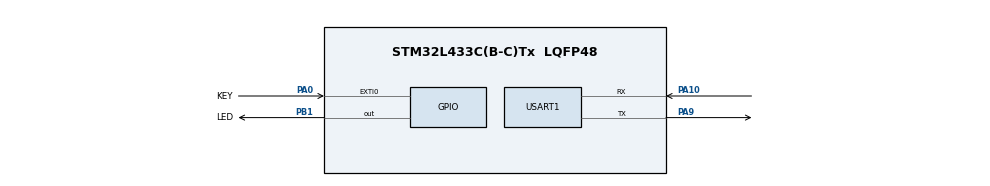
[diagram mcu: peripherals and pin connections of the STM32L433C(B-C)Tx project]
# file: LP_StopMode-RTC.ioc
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Mcu.Family=STM32L4
Mcu.Name=STM32L433C(B-C)Tx
Mcu.Package=LQFP48
NVIC.EXTI0_IRQn=true\:2\:0\:true\:false\:true\:true
NVIC.PriorityGroup=NVIC_PRIORITYGROUP_4
NVIC.RTC_WKUP_IRQn=true\:0\:0\:false\:false\:true\:true
NVIC.USART1_IRQn=true\:1\:0\:true\:false\:true\:true
PA0.GPIO_Label=KEY
PA0.GPIO_ModeDefaultEXTI=GPIO_MODE_IT_RISING_FALLING
PA0.GPIO_PuPd=GPIO_PULLDOWN
PA0.Signal=GPXTI0
PA10.Mode=Asynchronous
PA10.Signal=USART1_RX
PA13\ (JTMS-SWDIO).Mode=Serial_Wire
PA13\ (JTMS-SWDIO).Signal=SYS_JTMS-SWDIO
PA14\ (JTCK-SWCLK).Mode=Serial_Wire
PA14\ (JTCK-SWCLK).Signal=SYS_JTCK-SWCLK
PA9.Mode=Asynchronous
PA9.Signal=USART1_TX
PB1.GPIO_Label=LED
PB1.GPIO_PuPd=GPIO_PULLUP
PB1.Signal=GPIO_Output
PC14-OSC32_IN\ (PC14).Mode=LSE-External-Oscillator
PC14-OSC32_IN\ (PC14).Signal=RCC_OSC32_IN
PC15-OSC32_OUT\ (PC15).Mode=LSE-External-Oscillator
PC15-OSC32_OUT\ (PC15).Signal=RCC_OSC32_OUT
ProjectManager.HeapSize=0x200
ProjectManager.StackSize=0x400
ProjectManager.TargetToolchain=MDK-ARM V5
RCC.HSE_VALUE=8000000
RCC.HSI48_VALUE=48000000
RCC.HSI_VALUE=16000000
RCC.MSIAutoCalibration=DISABLED
RCC.MSI_VALUE=4000000
RCC.PWR_Regulator_Voltage_Scale=PWR_REGULATOR_VOLTAGE_SCALE2
RCC.RTCClockSelection=RCC_RTCCLKSOURCE_LSE
RCC.VCOOutputFreq_Value=32000000
RTC.Date=19
RTC.Month=RTC_MONTH_MARCH
RTC.WakeUpCounter-WakeUp=8192
RTC.Year=18
USART1.VirtualMode-Asynchronous=VM_ASYNC
VP_RTC_VS_RTC_Activate.Mode=RTC_Enabled
VP_RTC_VS_RTC_Calendar.Mode=RTC_Calendar
VP_RTC_VS_RTC_WakeUp_intern.Mode=WakeUp
board=custom

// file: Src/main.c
/**
  ******************************************************************************
  * @file           : main.c
  * @brief          : Main program body
  ******************************************************************************
  ** This notice applies to any and all portions of this file
  * that are not between comment pairs USER CODE BEGIN and
  * USER CODE END. Other portions of this file, whether
  * inserted by the user or by software development tools
  * are owned by their respective copyright owners.
  *
  * COPYRIGHT(c) 2019 STMicroelectronics
  *
  * Redistribution and use in source and binary forms, with or without modification,
  * are permitted provided that the following conditions are met:
  *   1. Redistributions of source code must retain the above copyright notice,
  *      this list of conditions and the following disclaimer.
  *   2. Redistributions in binary form must reproduce the above copyright notice,
  *      this list of conditions and the following disclaimer in the documentation
  *      and/or other materials provided with the distribution.
  *   3. Neither the name of STMicroelectronics nor the names of its contributors
  *      may be used to endorse or promote products derived from this software
  *      without specific prior written permission.
  *
  * THIS SOFTWARE IS PROVIDED BY THE COPYRIGHT HOLDERS AND CONTRIBUTORS "AS IS"
  * AND ANY EXPRESS OR IMPLIED WARRANTIES, INCLUDING, BUT NOT LIMITED TO, THE
  * IMPLIED WARRANTIES OF MERCHANTABILITY AND FITNESS FOR A PARTICULAR PURPOSE ARE
  * DISCLAIMED. IN NO EVENT SHALL THE COPYRIGHT HOLDER OR CONTRIBUTORS BE LIABLE
  * FOR ANY DIRECT, INDIRECT, INCIDENTAL, SPECIAL, EXEMPLARY, OR CONSEQUENTIAL
  * DAMAGES (INCLUDING, BUT NOT LIMITED TO, PROCUREMENT OF SUBSTITUTE GOODS OR
  * SERVICES; LOSS OF USE, DATA, OR PROFITS; OR BUSINESS INTERRUPTION) HOWEVER
  * CAUSED AND ON ANY THEORY OF LIABILITY, WHETHER IN CONTRACT, STRICT LIABILITY,
  * OR TORT (INCLUDING NEGLIGENCE OR OTHERWISE) ARISING IN ANY WAY OUT OF THE USE
  * OF THIS SOFTWARE, EVEN IF ADVISED OF THE POSSIBILITY OF SUCH DAMAGE.
  *
  ******************************************************************************
  */
#include "main.h"
#include "stm32l4xx_hal.h"
#include "rtc.h"
#include "usart.h"
#include "gpio.h"

/* USER CODE BEGIN Includes */
#include "BSP_debug.h"
#include "BSP_pwr.h"

/* USER CODE END Includes */

/* USER CODE BEGIN PV */
/* Private variables ---------------------------------------------------------*/
void power_exit_stop(void);
void power_enter_stop(void);
/* USER CODE END PV */

void SystemClock_Config(void);

/* USER CODE BEGIN PFP */
/* Private function prototypes -----------------------------------------------*/

/* USER CODE END PFP */

/* USER CODE BEGIN 0 */
__IO uint8_t sec = 0;
__IO uint8_t wakeup=0;
/* USER CODE END 0 */

unsigned char SleepMode = 0;

int main(void)
{
  /* USER CODE BEGIN 1 */
	 int i = 0;
  /* USER CODE END 1 */

  /* MCU Configuration----------------------------------------------------------*/

  /* Reset of all peripherals, Initializes the Flash interface and the Systick. */
  HAL_Init();

  /* Configure the system clock */
  SystemClock_Config();

  /* Initialize all configured peripherals */
  MX_GPIO_Init();
  MX_RTC_Init();
  MX_USART1_UART_Init();
  /* USER CODE BEGIN 2 */
 	LowPower_Config();
 	wakeup=0;
  /* USER CODE END 2 */
		for(i = 0; i < 10; i++)
		{
			 printf("init wakeup=%d\r\n",wakeup);
    HAL_Delay(200);
		}

  /* Infinite loop */
  /* USER CODE BEGIN WHILE */
	while (1)
	{

		if(SleepMode == 0)  // 进入休眠
		{

		 	LowPower_enter_stop();

			 if(wakeup!=0)
		  {
		   	SleepMode = 1;
				 	LowPower_WakeUp();
      printf("wakeup=%d\r\n",wakeup);
			   wakeup=0;
	  	}
		}
		else
		{
			  printf("Run!\r\n");
			  HAL_Delay(10);
			  SleepMode = 0;
		}

  /* USER CODE END WHILE */

	}

}

void SystemClock_Config(void)
{

  RCC_OscInitTypeDef RCC_OscInitStruct;
  RCC_ClkInitTypeDef RCC_ClkInitStruct;
  RCC_PeriphCLKInitTypeDef PeriphClkInit;

    /**Configure LSE Drive Capability
    */
  HAL_PWR_EnableBkUpAccess();

  __HAL_RCC_LSEDRIVE_CONFIG(RCC_LSEDRIVE_LOW);

    /**Initializes the CPU, AHB and APB busses clocks
    */
  RCC_OscInitStruct.OscillatorType = RCC_OSCILLATORTYPE_LSE|RCC_OSCILLATORTYPE_MSI;
  RCC_OscInitStruct.LSEState = RCC_LSE_ON;
  RCC_OscInitStruct.MSIState = RCC_MSI_ON;
  RCC_OscInitStruct.MSICalibrationValue = 0;
  RCC_OscInitStruct.MSIClockRange = RCC_MSIRANGE_6;
  RCC_OscInitStruct.PLL.PLLState = RCC_PLL_NONE;
  if (HAL_RCC_OscConfig(&RCC_OscInitStruct) != HAL_OK)
  {
    _Error_Handler(__FILE__, __LINE__);
  }

    /**Initializes the CPU, AHB and APB busses clocks
    */
  RCC_ClkInitStruct.ClockType = RCC_CLOCKTYPE_HCLK|RCC_CLOCKTYPE_SYSCLK
                              |RCC_CLOCKTYPE_PCLK1|RCC_CLOCKTYPE_PCLK2;
  RCC_ClkInitStruct.SYSCLKSource = RCC_SYSCLKSOURCE_MSI;
  RCC_ClkInitStruct.AHBCLKDivider = RCC_SYSCLK_DIV1;
  RCC_ClkInitStruct.APB1CLKDivider = RCC_HCLK_DIV1;
  RCC_ClkInitStruct.APB2CLKDivider = RCC_HCLK_DIV1;

  if (HAL_RCC_ClockConfig(&RCC_ClkInitStruct, FLASH_LATENCY_0) != HAL_OK)
  {
    _Error_Handler(__FILE__, __LINE__);
  }

  PeriphClkInit.PeriphClockSelection = RCC_PERIPHCLK_RTC|RCC_PERIPHCLK_USART1;
  PeriphClkInit.Usart1ClockSelection = RCC_USART1CLKSOURCE_PCLK2;
  PeriphClkInit.RTCClockSelection = RCC_RTCCLKSOURCE_LSE;
  if (HAL_RCCEx_PeriphCLKConfig(&PeriphClkInit) != HAL_OK)
  {
    _Error_Handler(__FILE__, __LINE__);
  }

    /**Configure the main internal regulator output voltage
    */
  if (HAL_PWREx_ControlVoltageScaling(PWR_REGULATOR_VOLTAGE_SCALE2) != HAL_OK)
  {
    _Error_Handler(__FILE__, __LINE__);
  }

    /**Configure the Systick interrupt time
    */
  HAL_SYSTICK_Config(HAL_RCC_GetHCLKFreq()/1000);

    /**Configure the Systick
    */
  HAL_SYSTICK_CLKSourceConfig(SYSTICK_CLKSOURCE_HCLK);

  /* SysTick_IRQn interrupt configuration */
  HAL_NVIC_SetPriority(SysTick_IRQn, 0, 0);
}

/* USER CODE BEGIN 4 */
/*###########################################################################*/
// 只是分割线，可以在下面添加代码
/*###########################################################################*/

// 外部中断唤醒回调函数
void HAL_GPIO_EXTI_Callback(uint16_t GPIO_Pin)
{
	wakeup=1;
}

void HAL_RTCEx_WakeUpTimerEventCallback(RTC_HandleTypeDef *hrtc)
{
	wakeup=2;
}
/*###########################################################################*/
// 只是分割线
/*###########################################################################*/
/* USER CODE END 4 */

void _Error_Handler(char *file, int line)
{
	while(1)
	{
	}
}

/************************ (C) COPYRIGHT STMicroelectronics *****END OF FILE****/
